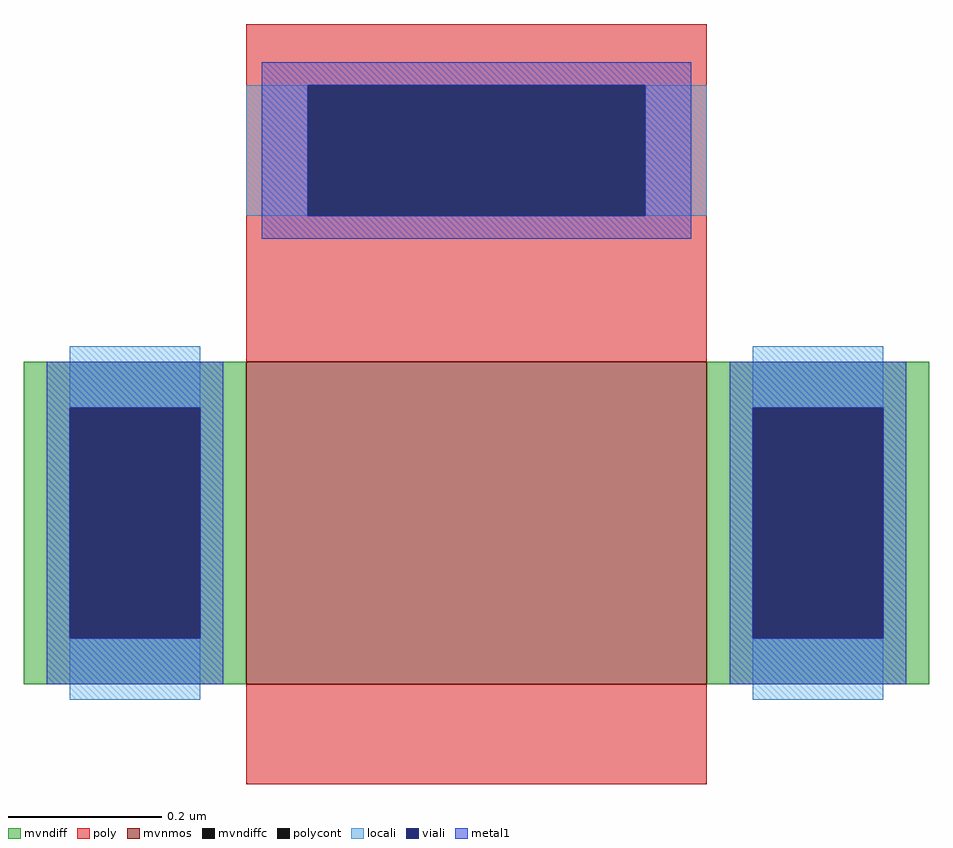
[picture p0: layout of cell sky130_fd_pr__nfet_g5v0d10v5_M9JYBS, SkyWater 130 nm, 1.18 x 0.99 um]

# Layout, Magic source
magic
tech sky130A
magscale 1 2
<< mvnmos >>
rect -60 -73 60 11
<< mvndiff >>
rect -118 -1 -60 11
rect -118 -61 -106 -1
rect -72 -61 -60 -1
rect -118 -73 -60 -61
rect 60 -1 118 11
rect 60 -61 72 -1
rect 106 -61 118 -1
rect 60 -73 118 -61
<< mvndiffc >>
rect -106 -61 -72 -1
rect 72 -61 106 -1
<< poly >>
rect -60 83 60 99
rect -60 49 -44 83
rect 44 49 60 83
rect -60 11 60 49
rect -60 -99 60 -73
<< polycont >>
rect -44 49 44 83
<< locali >>
rect -60 49 -44 83
rect 44 49 60 83
rect -106 -1 -72 15
rect -106 -77 -72 -61
rect 72 -1 106 15
rect 72 -77 106 -61
<< viali >>
rect -44 49 44 83
rect -106 -61 -72 -1
rect 72 -61 106 -1
<< metal1 >>
rect -56 83 56 89
rect -56 49 -44 83
rect 44 49 56 83
rect -56 43 56 49
rect -112 -1 -66 11
rect -112 -61 -106 -1
rect -72 -61 -66 -1
rect -112 -73 -66 -61
rect 66 -1 112 11
rect 66 -61 72 -1
rect 106 -61 112 -1
rect 66 -73 112 -61
<< properties >>
string gencell sky130_fd_pr__nfet_g5v0d10v5
string library sky130
string parameters w 0.42 l 0.60 m 1 nf 1 diffcov 100 polycov 100 guard 0 glc 1 grc 1 gtc 1 gbc 1 tbcov 100 rlcov 100 topc 1 botc 0 poverlap 0 doverlap 0 lmin 0.50 wmin 0.42 compatible {sky130_fd_pr__nfet_01v8 sky130_fd_pr__nfet_01v8_lvt  sky130_fd_bs_flash__special_sonosfet_star  sky130_fd_pr__nfet_g5v0d10v5 sky130_fd_pr__nfet_05v0_nvt  sky130_fd_pr__nfet_03v3_nvt} full_metal 1 viasrc 100 viadrn 100 viagate 100 viagb 0 viagr 0 viagl 0 viagt 0
<< end >>
